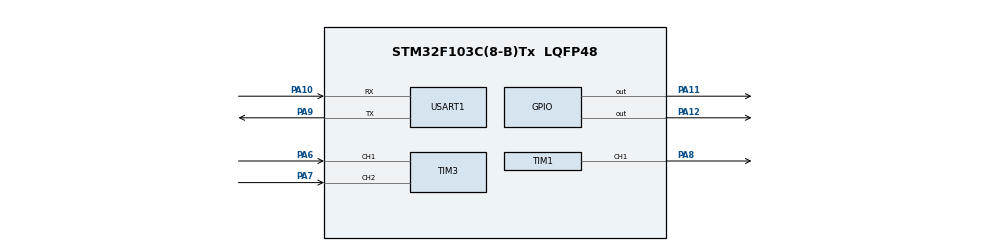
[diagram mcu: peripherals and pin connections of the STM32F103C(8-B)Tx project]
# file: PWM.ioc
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Dma.Request0=USART1_RX
Dma.USART1_RX.0.Direction=DMA_PERIPH_TO_MEMORY
Dma.USART1_RX.0.Instance=DMA1_Channel5
Dma.USART1_RX.0.MemDataAlignment=DMA_MDATAALIGN_BYTE
Dma.USART1_RX.0.MemInc=DMA_MINC_ENABLE
Dma.USART1_RX.0.Mode=DMA_CIRCULAR
Dma.USART1_RX.0.PeriphDataAlignment=DMA_PDATAALIGN_BYTE
Dma.USART1_RX.0.PeriphInc=DMA_PINC_DISABLE
Dma.USART1_RX.0.Priority=DMA_PRIORITY_LOW
Mcu.Family=STM32F1
Mcu.Name=STM32F103C(8-B)Tx
Mcu.Package=LQFP48
NVIC.DMA1_Channel5_IRQn=true\:0\:0\:false\:false\:true\:false\:true\:true
NVIC.PriorityGroup=NVIC_PRIORITYGROUP_4
NVIC.TIM2_IRQn=true\:0\:0\:false\:false\:true\:true\:true\:true
NVIC.USART1_IRQn=true\:1\:0\:true\:false\:true\:true\:true\:true
PA10.Mode=Asynchronous
PA10.Signal=USART1_RX
PA11.Signal=GPIO_Output
PA12.Signal=GPIO_Output
PA13.Mode=Serial_Wire
PA13.Signal=SYS_JTMS-SWDIO
PA14.Mode=Serial_Wire
PA14.Signal=SYS_JTCK-SWCLK
PA6.Signal=S_TIM3_CH1
PA7.Signal=S_TIM3_CH2
PA8.Signal=S_TIM1_CH1
PA9.Mode=Asynchronous
PA9.Signal=USART1_TX
PD0-OSC_IN.Mode=HSE-External-Oscillator
PD0-OSC_IN.Signal=RCC_OSC_IN
PD1-OSC_OUT.Mode=HSE-External-Oscillator
PD1-OSC_OUT.Signal=RCC_OSC_OUT
ProjectManager.HeapSize=0x200
ProjectManager.StackSize=0x400
ProjectManager.TargetToolchain=MDK-ARM V5.32
RCC.APB1Freq_Value=8000000
RCC.APB2Freq_Value=8000000
SH.S_TIM1_CH1.0=TIM1_CH1,PWM Generation1 CH1
SH.S_TIM3_CH1.0=TIM3_CH1,Encoder_Interface
SH.S_TIM3_CH2.0=TIM3_CH2,Encoder_Interface
TIM1.Channel-PWM\ Generation1\ CH1=TIM_CHANNEL_1
TIM1.Period=100
TIM1.Prescaler=8
TIM3.EncoderMode=TIM_ENCODERMODE_TI12
TIM3.IC1Filter=10
TIM3.IC2Filter=10
USART1.VirtualMode=VM_ASYNC
VP_TIM1_VS_ClockSourceINT.Mode=Internal
VP_TIM2_VS_ClockSourceINT.Mode=Internal
board=custom

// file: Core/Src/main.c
/* USER CODE BEGIN Header */
/**
  ******************************************************************************
  * @file           : main.c
  * @brief          : Main program body
  ******************************************************************************
  * @attention
  *
  * Copyright (c) 2025 STMicroelectronics.
  * All rights reserved.
  *
  * This software is licensed under terms that can be found in the LICENSE file
  * in the root directory of this software component.
  * If no LICENSE file comes with this software, it is provided AS-IS.
  *
  ******************************************************************************
  */
/* USER CODE END Header */
#include "main.h"

/* USER CODE BEGIN Includes */
#include "stdio.h"
#include "stdlib.h"
#include "string.h"
#define FILTER_SIZE 8
volatile static float speed_buffer[FILTER_SIZE];
volatile static int buffer_index = 0;
volatile static float v_smooth = 0;
volatile uint8_t data_received_flag=0;
volatile uint8_t chieu1=0;
volatile uint8_t chieu2=0;
volatile static uint16_t pulsebefore = 0;
volatile static uint16_t pulsenow = 0;
volatile static float v;
char data_TX[20];
uint16_t pwmValue;
uint8_t data_RX[4]={0};
int a=0,b=1;
/* USER CODE END Includes */

TIM_HandleTypeDef htim1;
TIM_HandleTypeDef htim2;
TIM_HandleTypeDef htim3;

UART_HandleTypeDef huart1;
DMA_HandleTypeDef hdma_usart1_rx;

void SystemClock_Config(void);
static void MX_GPIO_Init(void);
static void MX_DMA_Init(void);
static void MX_TIM1_Init(void);
static void MX_USART1_UART_Init(void);
static void MX_TIM2_Init(void);
static void MX_TIM3_Init(void);

int main(void)
{

  /* MCU Configuration--------------------------------------------------------*/

  /* Reset of all peripherals, Initializes the Flash interface and the Systick. */
  HAL_Init();

  /* Configure the system clock */
  SystemClock_Config();

  /* Initialize all configured peripherals */
  MX_GPIO_Init();
  MX_DMA_Init();
  MX_TIM1_Init();
  MX_USART1_UART_Init();
  MX_TIM2_Init();
  MX_TIM3_Init();
  /* USER CODE BEGIN 2 */
	HAL_TIM_PWM_Start(&htim1, TIM_CHANNEL_1 );
	HAL_UART_Receive_DMA (&huart1, data_RX ,3);
	HAL_TIM_Base_Start_IT(&htim2); //TIMER2
	HAL_TIM_Encoder_Start(&htim3, TIM_CHANNEL_ALL);

  /* USER CODE END 2 */

  /* Infinite loop */
  /* USER CODE BEGIN WHILE */
	uint32_t last_time_print = 0;
  while (1)
  {
    /* USER CODE END WHILE */

    /* USER CODE BEGIN 3 */

		if (HAL_GetTick() - last_time_print > 100)
        {
            sprintf(data_TX, "%.2f\n", v_smooth);
            HAL_UART_Transmit_IT(&huart1, (uint8_t*)data_TX, strlen(data_TX));
            last_time_print = HAL_GetTick();
        }

		if (data_received_flag ==1)
		{
			data_received_flag=0;
			data_RX[3] = '\0';
			pwmValue=atoi((char*)data_RX);
			__HAL_TIM_SET_COMPARE (&htim1, TIM_CHANNEL_1, pwmValue );
		}
		if (chieu1 == 1)
        {
            chieu1 = 0;
            HAL_GPIO_WritePin(GPIOA, GPIO_PIN_11, 0);
            HAL_GPIO_WritePin(GPIOA, GPIO_PIN_12, 1);
        }
        else if (chieu2 == 1)
        {
            chieu2 = 0;
            HAL_GPIO_WritePin(GPIOA, GPIO_PIN_11, 1);
            HAL_GPIO_WritePin(GPIOA, GPIO_PIN_12, 0);
        }

	}
  /* USER CODE END 3 */
}

void SystemClock_Config(void)
{
  RCC_OscInitTypeDef RCC_OscInitStruct = {0};
  RCC_ClkInitTypeDef RCC_ClkInitStruct = {0};

  /** Initializes the RCC Oscillators according to the specified parameters
  * in the RCC_OscInitTypeDef structure.
  */
  RCC_OscInitStruct.OscillatorType = RCC_OSCILLATORTYPE_HSI;
  RCC_OscInitStruct.HSIState = RCC_HSI_ON;
  RCC_OscInitStruct.HSICalibrationValue = RCC_HSICALIBRATION_DEFAULT;
  RCC_OscInitStruct.PLL.PLLState = RCC_PLL_NONE;
  if (HAL_RCC_OscConfig(&RCC_OscInitStruct) != HAL_OK)
  {
    Error_Handler();
  }

  /** Initializes the CPU, AHB and APB buses clocks
  */
  RCC_ClkInitStruct.ClockType = RCC_CLOCKTYPE_HCLK|RCC_CLOCKTYPE_SYSCLK
                              |RCC_CLOCKTYPE_PCLK1|RCC_CLOCKTYPE_PCLK2;
  RCC_ClkInitStruct.SYSCLKSource = RCC_SYSCLKSOURCE_HSI;
  RCC_ClkInitStruct.AHBCLKDivider = RCC_SYSCLK_DIV1;
  RCC_ClkInitStruct.APB1CLKDivider = RCC_HCLK_DIV1;
  RCC_ClkInitStruct.APB2CLKDivider = RCC_HCLK_DIV1;

  if (HAL_RCC_ClockConfig(&RCC_ClkInitStruct, FLASH_LATENCY_0) != HAL_OK)
  {
    Error_Handler();
  }
}

static void MX_TIM1_Init(void)
{

  TIM_ClockConfigTypeDef sClockSourceConfig = {0};
  TIM_MasterConfigTypeDef sMasterConfig = {0};
  TIM_OC_InitTypeDef sConfigOC = {0};
  TIM_BreakDeadTimeConfigTypeDef sBreakDeadTimeConfig = {0};

  htim1.Instance = TIM1;
  htim1.Init.Prescaler = 8;
  htim1.Init.CounterMode = TIM_COUNTERMODE_UP;
  htim1.Init.Period = 100;
  htim1.Init.ClockDivision = TIM_CLOCKDIVISION_DIV1;
  htim1.Init.RepetitionCounter = 0;
  htim1.Init.AutoReloadPreload = TIM_AUTORELOAD_PRELOAD_DISABLE;
  if (HAL_TIM_Base_Init(&htim1) != HAL_OK)
  {
    Error_Handler();
  }
  sClockSourceConfig.ClockSource = TIM_CLOCKSOURCE_INTERNAL;
  if (HAL_TIM_ConfigClockSource(&htim1, &sClockSourceConfig) != HAL_OK)
  {
    Error_Handler();
  }
  if (HAL_TIM_PWM_Init(&htim1) != HAL_OK)
  {
    Error_Handler();
  }
  sMasterConfig.MasterOutputTrigger = TIM_TRGO_RESET;
  sMasterConfig.MasterSlaveMode = TIM_MASTERSLAVEMODE_DISABLE;
  if (HAL_TIMEx_MasterConfigSynchronization(&htim1, &sMasterConfig) != HAL_OK)
  {
    Error_Handler();
  }
  sConfigOC.OCMode = TIM_OCMODE_PWM1;
  sConfigOC.Pulse = 0;
  sConfigOC.OCPolarity = TIM_OCPOLARITY_HIGH;
  sConfigOC.OCNPolarity = TIM_OCNPOLARITY_HIGH;
  sConfigOC.OCFastMode = TIM_OCFAST_DISABLE;
  sConfigOC.OCIdleState = TIM_OCIDLESTATE_RESET;
  sConfigOC.OCNIdleState = TIM_OCNIDLESTATE_RESET;
  if (HAL_TIM_PWM_ConfigChannel(&htim1, &sConfigOC, TIM_CHANNEL_1) != HAL_OK)
  {
    Error_Handler();
  }
  sBreakDeadTimeConfig.OffStateRunMode = TIM_OSSR_DISABLE;
  sBreakDeadTimeConfig.OffStateIDLEMode = TIM_OSSI_DISABLE;
  sBreakDeadTimeConfig.LockLevel = TIM_LOCKLEVEL_OFF;
  sBreakDeadTimeConfig.DeadTime = 0;
  sBreakDeadTimeConfig.BreakState = TIM_BREAK_DISABLE;
  sBreakDeadTimeConfig.BreakPolarity = TIM_BREAKPOLARITY_HIGH;
  sBreakDeadTimeConfig.AutomaticOutput = TIM_AUTOMATICOUTPUT_DISABLE;
  if (HAL_TIMEx_ConfigBreakDeadTime(&htim1, &sBreakDeadTimeConfig) != HAL_OK)
  {
    Error_Handler();
  }
  HAL_TIM_MspPostInit(&htim1);

}

static void MX_TIM2_Init(void)
{

  TIM_ClockConfigTypeDef sClockSourceConfig = {0};
  TIM_MasterConfigTypeDef sMasterConfig = {0};

  htim2.Instance = TIM2;
  htim2.Init.Prescaler = 79; // (8MHz / (79+1)) = 100kHz
	  htim2.Init.Period = 999;
  htim2.Init.CounterMode = TIM_COUNTERMODE_UP;
  htim2.Init.ClockDivision = TIM_CLOCKDIVISION_DIV1;
  htim2.Init.AutoReloadPreload = TIM_AUTORELOAD_PRELOAD_DISABLE;
  if (HAL_TIM_Base_Init(&htim2) != HAL_OK)
  {
    Error_Handler();
  }
  sClockSourceConfig.ClockSource = TIM_CLOCKSOURCE_INTERNAL;
  if (HAL_TIM_ConfigClockSource(&htim2, &sClockSourceConfig) != HAL_OK)
  {
    Error_Handler();
  }
  sMasterConfig.MasterOutputTrigger = TIM_TRGO_RESET;
  sMasterConfig.MasterSlaveMode = TIM_MASTERSLAVEMODE_DISABLE;
  if (HAL_TIMEx_MasterConfigSynchronization(&htim2, &sMasterConfig) != HAL_OK)
  {
    Error_Handler();
  }

}

static void MX_TIM3_Init(void)
{

  TIM_Encoder_InitTypeDef sConfig = {0};
  TIM_MasterConfigTypeDef sMasterConfig = {0};

  htim3.Instance = TIM3;
  htim3.Init.Prescaler = 0;
  htim3.Init.CounterMode = TIM_COUNTERMODE_UP;
  htim3.Init.Period = 65535;
  htim3.Init.ClockDivision = TIM_CLOCKDIVISION_DIV1;
  htim3.Init.AutoReloadPreload = TIM_AUTORELOAD_PRELOAD_DISABLE;
  sConfig.EncoderMode = TIM_ENCODERMODE_TI12;
  sConfig.IC1Polarity = TIM_ICPOLARITY_RISING;
  sConfig.IC1Selection = TIM_ICSELECTION_DIRECTTI;
  sConfig.IC1Prescaler = TIM_ICPSC_DIV1;
  sConfig.IC1Filter = 10;
  sConfig.IC2Polarity = TIM_ICPOLARITY_RISING;
  sConfig.IC2Selection = TIM_ICSELECTION_DIRECTTI;
  sConfig.IC2Prescaler = TIM_ICPSC_DIV1;
  sConfig.IC2Filter = 10;
  if (HAL_TIM_Encoder_Init(&htim3, &sConfig) != HAL_OK)
  {
    Error_Handler();
  }
  sMasterConfig.MasterOutputTrigger = TIM_TRGO_RESET;
  sMasterConfig.MasterSlaveMode = TIM_MASTERSLAVEMODE_DISABLE;
  if (HAL_TIMEx_MasterConfigSynchronization(&htim3, &sMasterConfig) != HAL_OK)
  {
    Error_Handler();
  }

}

static void MX_USART1_UART_Init(void)
{

  huart1.Instance = USART1;
  huart1.Init.BaudRate = 115200;
  huart1.Init.WordLength = UART_WORDLENGTH_8B;
  huart1.Init.StopBits = UART_STOPBITS_1;
  huart1.Init.Parity = UART_PARITY_NONE;
  huart1.Init.Mode = UART_MODE_TX_RX;
  huart1.Init.HwFlowCtl = UART_HWCONTROL_NONE;
  huart1.Init.OverSampling = UART_OVERSAMPLING_16;
  if (HAL_UART_Init(&huart1) != HAL_OK)
  {
    Error_Handler();
  }

}

static void MX_DMA_Init(void)
{

  /* DMA controller clock enable */
  __HAL_RCC_DMA1_CLK_ENABLE();

  /* DMA interrupt init */
  /* DMA1_Channel5_IRQn interrupt configuration */
  HAL_NVIC_SetPriority(DMA1_Channel5_IRQn, 0, 0);
  HAL_NVIC_EnableIRQ(DMA1_Channel5_IRQn);

}

static void MX_GPIO_Init(void)
{
  GPIO_InitTypeDef GPIO_InitStruct = {0};

  /* GPIO Ports Clock Enable */
  __HAL_RCC_GPIOD_CLK_ENABLE();
  __HAL_RCC_GPIOA_CLK_ENABLE();

  /*Configure GPIO pin Output Level */
  HAL_GPIO_WritePin(GPIOA, GPIO_PIN_11|GPIO_PIN_12, GPIO_PIN_RESET);

  /*Configure GPIO pins : PA11 PA12 */
  GPIO_InitStruct.Pin = GPIO_PIN_11|GPIO_PIN_12;
  GPIO_InitStruct.Mode = GPIO_MODE_OUTPUT_PP;
  GPIO_InitStruct.Pull = GPIO_NOPULL;
  GPIO_InitStruct.Speed = GPIO_SPEED_FREQ_LOW;
  HAL_GPIO_Init(GPIOA, &GPIO_InitStruct);

}

/* USER CODE BEGIN 4 */
void HAL_UART_RxCpltCallback(UART_HandleTypeDef *huart)
{
	if(huart->Instance==USART1)
	{
		if(data_RX[0] == 'T' && data_RX[1] == 'H' && data_RX[2] == 'N')//thuan=THN
        {
            chieu1=1; //thuan
					  chieu2=0;
        }
        else if(data_RX[0] == 'N' && data_RX[1] == 'G' && data_RX[2] == 'H')//nghich=NGH
        {
            chieu2=1; // nghich
					  chieu1=0;
        }
        else //data_RX<=100
        {
            data_received_flag=1;
        }
	}
	    HAL_UART_Receive_DMA (&huart1, data_RX ,3);
}

void HAL_TIM_PeriodElapsedCallback(TIM_HandleTypeDef *htim)
{
	if (htim == &htim2) {
		pulsenow = __HAL_TIM_GET_COUNTER(&htim3);
		int16_t delta_pulse = (int16_t)(pulsenow - pulsebefore);
		v = (float)delta_pulse * 100.0 / 937.2;
		speed_buffer[buffer_index] = v;
		buffer_index = (buffer_index + 1) % FILTER_SIZE;
		float sum = 0;
		for (int i = 0; i < FILTER_SIZE; i++) {
			sum += speed_buffer[i];
		}
		v_smooth = sum / FILTER_SIZE;
		pulsebefore = pulsenow;
		}
}
/* USER CODE END 4 */

void Error_Handler(void)
{
  __disable_irq();
  while (1)
  {
  }
}
